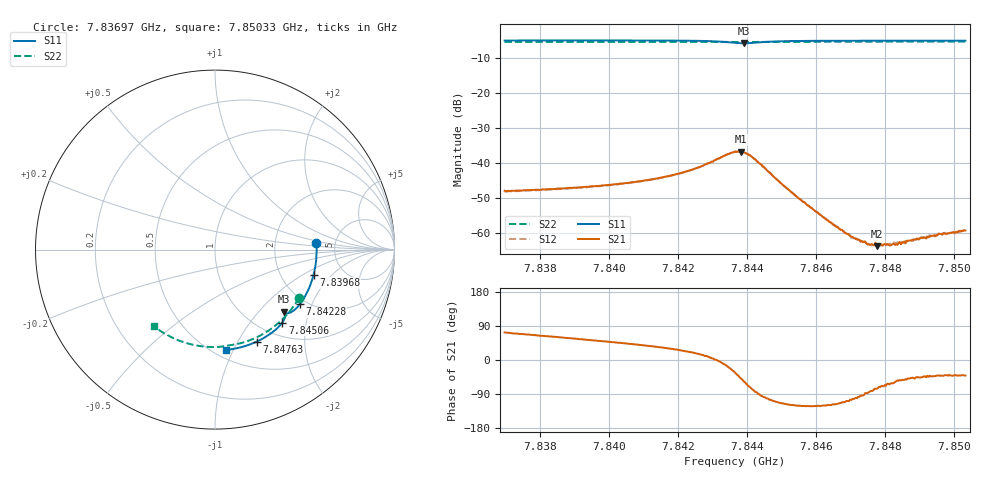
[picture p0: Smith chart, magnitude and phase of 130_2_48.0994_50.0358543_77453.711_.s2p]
#  HZ  S  RI  R  50.00
! Rohde & Schwarz Vector Network Analyzer
! Rohde-Schwarz,ZNB20-2Port,1311601062101988,3.16
! Created: UTC 12/23/2023, 3:47:40 AM
! freq[Hz]  re:S11  im:S11  re:S21  im:S21  re:S12  im:S12  re:S22  im:S22
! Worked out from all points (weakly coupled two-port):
!   401 points, 7.83697 GHz to 7.85033 GHz, reference 50 ohm
!   highest |S21| = -36.74 dB at 7.84382 GHz (marker M1); lowest = -63.9 dB at 7.84776 GHz (marker M2)
!   lowest |S11| = -5.7 dB at 7.84392 GHz (marker M3), VSWR 3.14, Z = 73.5 - j69.3 ohm
!   |S11| at or under -10 dB: nowhere
!   |S22| runs from -5.4 to -5.3 dB; largest |S21 - S12| = 0.00028
!   S11 on the Smith chart (normalised r, x): 7.83697 GHz: 3.56, +0.39; 7.83968 GHz: 3.03, -1.27; 7.84228 GHz: 1.84, -1.64; 7.84506 GHz: 1.25, -1.46; 7.84763 GHz: 0.80, -1.20; 7.85033 GHz: 0.57, -0.93
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7.836973e9  0.565 0.0374  0.0012 0.00381  0.00121 0.0037  0.468 -0.2684
7.839211e9  0.5559 -0.1111  0.00258 0.00366  0.00255 0.00361  0.3719 -0.3918
7.839678e9  0.5488 -0.1418  0.00296 0.00361  0.00291 0.00361  0.3476 -0.4138
7.840613e9  0.5292 -0.2017  0.00386 0.00352  0.00383 0.0035  0.2951 -0.4532
7.841448e9  0.5053 -0.2541  0.00503 0.00339  0.00495 0.00338  0.2446 -0.4828
7.842283e9  0.4728 -0.3047  0.00708 0.00291  0.00703 0.00291  0.1908 -0.5064
7.843152e9  0.4228 -0.3494  0.0115 -0.000344  0.0114 -0.000252  0.1324 -0.5242
7.843653e9  0.3881 -0.3523  0.0122 -0.00793  0.012 -0.00781  0.0989 -0.53
7.84382e9  0.3836 -0.3476  0.00964 -0.0109  0.00971 -0.0107  0.0884 -0.5319
7.84392e9  0.3843 -0.3456  0.00757 -0.0118  0.00768 -0.0119  0.0819 -0.533
7.84422e9  0.3912 -0.3521  0.00155 -0.0113  0.00163 -0.0113  0.0625 -0.5365
7.845055e9  0.375 -0.4063  -0.002 -0.00432  -0.00202 -0.00433  0.00428 -0.5427
7.84589e9  0.3337 -0.4496  -0.00118 -0.00189  -0.00119 -0.0019  -0.0546 -0.5407
7.846525e9  0.2985 -0.4759  -0.000576 -0.00114  -0.000594 -0.00116  -0.0989 -0.5348
7.847059e9  0.2672 -0.4949  -0.000189 -0.000849  -0.000198 -0.000832  -0.1356 -0.5272
7.847627e9  0.2328 -0.5123  9.71e-05 -0.000676  0.000104 -0.000652  -0.1739 -0.5163
7.847761e9  0.2249 -0.516  0.000155 -0.000623  0.000131 -0.000634  -0.1829 -0.5133
7.848128e9  0.2019 -0.5254  0.000287 -0.000592  0.000332 -0.000612  -0.2069 -0.5043
7.848529e9  0.1768 -0.5345  0.000438 -0.000569  0.000457 -0.000573  -0.2326 -0.4931
7.848696e9  0.1661 -0.538  0.000507 -0.000582  0.000487 -0.000599  -0.2433 -0.4881
7.849631e9  0.1056 -0.5527  0.000723 -0.000628  0.000685 -0.000626  -0.3004 -0.4557
7.850332e9  0.0594 -0.5592  0.000813 -0.00071  0.000856 -0.000687  -0.3404 -0.4272
